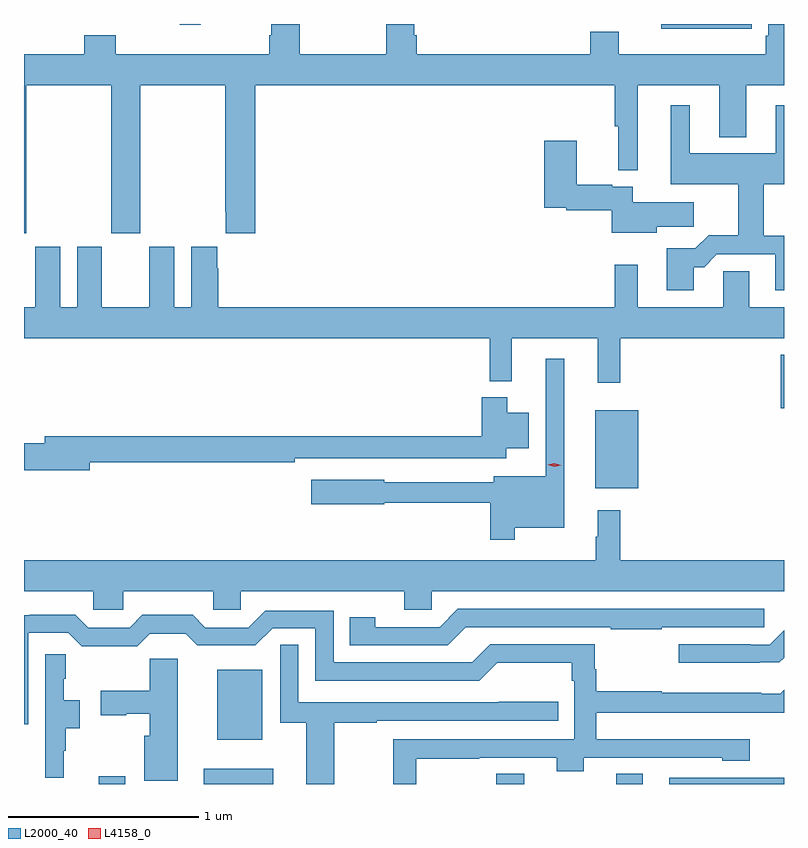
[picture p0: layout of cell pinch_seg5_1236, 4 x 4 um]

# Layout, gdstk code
import gdstk
lib = gdstk.Library(unit=1e-6, precision=1e-09)
def R(c, l, rs):  # rectangles x0, y0, x1, y1
    for r in rs: c.add(gdstk.rectangle(r[:2], r[2:], *l))
def P(c, l, *ps):  # polygons
    for p in ps: c.add(gdstk.Polygon(p, *l))
L2000_40 = (2000, 40)
L4158_0 = (4158, 0)

pinch_seg5_1236 = lib.new_cell('pinch_seg5_1236')
R(pinch_seg5_1236, L2000_40, [(443.27,870.398,443.41,870.439), (443.822,870.398,444.19,870.478), (445.363,870.398,445.51,870.452), (445.994,870.398,446.134,870.452), (446.274,870.398,446.877,870.432), (443.894,870.632,444.13,871), (445.883,871.955,446.11,872.365), (446.861,872.376,446.877,872.656), (443.697,874.395,443.806,874.398)])
P(pinch_seg5_1236, L2000_40, [(443.36,874.339),(443.195,874.339),(443.195,874.24),(442.877,874.24),(442.877,873.297),(442.89,873.297),(442.89,874.076),(443.335,874.076),(443.335,873.297),(443.49,873.297),(443.49,874.076),(443.935,874.076),(443.935,873.409),(443.939,873.409),(443.939,873.297),(444.095,873.297),(444.095,874.076),(445.986,874.076),(445.986,873.86),(446.004,873.86),(446.004,873.627),(446.107,873.627),(446.107,874.076),(446.537,874.076),(446.537,873.803),(446.677,873.803),(446.677,874.076),(446.877,874.076),(446.877,874.398),(446.793,874.398),(446.793,874.336),(446.78,874.336),(446.78,874.24),(446.008,874.24),(446.008,874.357),(445.856,874.357),(445.856,874.24),(444.944,874.24),(444.944,874.338),(444.931,874.338),(444.931,874.398),(444.784,874.398),(444.784,874.24),(444.327,874.24),(444.327,874.398),(444.179,874.398),(444.179,874.338),(444.167,874.338),(444.167,874.24),(443.36,874.24)],
  [(446.6,874.374),(446.708,874.374),(446.708,874.398),(446.232,874.398),(446.232,874.373),(446.6,874.373)],
  [(446.401,873.119),(446.456,873.119),(446.523,873.186),(446.831,873.186),(446.831,872.997),(446.877,872.997),(446.877,873.284),(446.771,873.284),(446.771,873.554),(446.877,873.554),(446.877,873.97),(446.834,873.97),(446.834,873.718),(446.38,873.718),(446.38,873.97),(446.282,873.97),(446.282,873.554),(446.636,873.554),(446.636,873.287),(446.48,873.287),(446.41,873.217),(446.261,873.217),(446.261,872.997),(446.401,872.997)],
  [(446.206,873.331),(446.401,873.331),(446.401,873.46),(446.08,873.46),(446.08,873.541),(445.974,873.541),(445.974,873.551),(445.786,873.551),(445.786,873.784),(445.616,873.784),(445.616,873.431),(445.732,873.431),(445.732,873.419),(445.97,873.419),(445.97,873.299),(446.206,873.299)],
  [(446.015,872.744),(446.877,872.744),(446.877,872.908),(446.695,872.908),(446.695,873.098),(446.556,873.098),(446.556,872.908),(446.107,872.908),(446.107,873.13),(445.986,873.13),(445.986,872.908),(443.9,872.908),(443.9,873.113),(443.893,873.113),(443.893,873.226),(443.756,873.226),(443.756,872.908),(443.668,872.908),(443.668,873.226),(443.537,873.226),(443.537,872.908),(443.287,872.908),(443.287,873.226),(443.156,873.226),(443.156,872.908),(443.068,872.908),(443.068,873.226),(442.937,873.226),(442.937,872.908),(442.877,872.908),(442.877,872.744),(445.327,872.744),(445.327,872.519),(445.445,872.519),(445.445,872.744),(445.898,872.744),(445.898,872.511),(446.015,872.511)],
  [(445.459,871.748),(445.72,871.748),(445.72,872.635),(445.623,872.635),(445.623,872.017),(445.349,872.017),(445.349,871.986),(444.774,871.986),(444.774,871.999),(444.39,871.999),(444.39,871.87),(444.774,871.87),(444.774,871.878),(445.33,871.878),(445.33,871.683),(445.459,871.683)],
  [(443.224,872.092),(444.302,872.092),(444.302,872.112),(445.414,872.112),(445.414,872.165),(445.534,872.165),(445.534,872.353),(445.42,872.353),(445.42,872.434),(445.286,872.434),(445.286,872.228),(442.985,872.228),(442.985,872.192),(442.877,872.192),(442.877,872.05),(443.224,872.05)],
  [(443.399,871.412),(443.873,871.412),(443.873,871.314),(444.018,871.314),(444.018,871.412),(444.877,871.412),(444.877,871.314),(445.023,871.314),(445.023,871.412),(446.877,871.412),(446.877,871.576),(446.015,871.576),(446.015,871.84),(445.898,871.84),(445.898,871.7),(445.887,871.7),(445.887,871.576),(442.877,871.576),(442.877,871.412),(443.241,871.412),(443.241,871.314),(443.399,871.314)],
  [(445.203,871.224),(445.966,871.224),(445.966,871.212),(446.234,871.212),(446.234,871.224),(446.773,871.224),(446.773,871.32),(445.161,871.32),(445.065,871.224),(444.726,871.224),(444.726,871.276),(444.592,871.276),(444.592,871.128),(445.107,871.128)],
  [(444.941,870.532),(445.274,870.532),(445.274,870.537),(445.682,870.537),(445.682,870.464),(445.822,870.464),(445.822,870.537),(446.553,870.537),(446.553,870.521),(446.698,870.521),(446.698,870.634),(445.889,870.634),(445.889,870.773),(446.877,870.773),(446.877,870.894),(446.856,870.873),(446.756,870.873),(446.756,870.877),(446.234,870.877),(446.234,870.887),(445.889,870.887),(445.889,871.002),(445.882,871.002),(445.882,871.134),(445.332,871.134),(445.236,871.038),(444.507,871.038),(444.507,871.311),(444.147,871.311),(444.057,871.221),(443.832,871.221),(443.765,871.288),(443.5,871.288),(443.433,871.221),(443.214,871.221),(443.147,871.288),(442.906,871.288),(442.906,871.286),(442.877,871.286),(442.877,870.712),(442.899,870.712),(442.899,871.193),(443.11,871.193),(443.18,871.123),(443.473,871.123),(443.538,871.188),(443.727,871.188),(443.788,871.127),(444.095,871.127),(444.186,871.218),(444.411,871.218),(444.411,870.942),(445.272,870.942),(445.367,871.037),(445.761,871.037),(445.761,870.941),(445.773,870.941),(445.773,870.633),(444.82,870.633),(444.82,870.398),(444.941,870.398)],
  [(446.75,871.038),(446.853,871.038),(446.877,871.062),(446.877,871.206),(446.802,871.131),(446.702,871.131),(446.702,871.134),(446.322,871.134),(446.322,871.037),(446.75,871.037)],
  [(444.51,870.72),(444.734,870.72),(444.734,870.732),(445.688,870.732),(445.688,870.83),(445.375,870.83),(445.375,870.828),(444.321,870.828),(444.321,871.13),(444.225,871.13),(444.225,870.72),(444.362,870.72),(444.362,870.398),(444.51,870.398)],
  [(443.087,870.573),(443.098,870.573),(443.098,870.691),(443.17,870.691),(443.17,870.838),(443.087,870.838),(443.087,870.951),(443.098,870.951),(443.098,871.081),(442.989,871.081),(442.989,870.432),(443.087,870.432)],
  [(443.686,871.057),(443.539,871.057),(443.539,870.889),(443.28,870.889),(443.28,870.76),(443.414,870.76),(443.414,870.767),(443.539,870.767),(443.539,870.652),(443.51,870.652),(443.51,870.416),(443.686,870.416)])
P(pinch_seg5_1236, L4158_0, [(445.668,872.067),(445.633,872.079),(445.633,872.079),(445.633,872.079),(445.669,872.087),(445.704,872.076),(445.704,872.076),(445.704,872.075)])

lib.write_gds('pinch_seg5_1236.gds')
